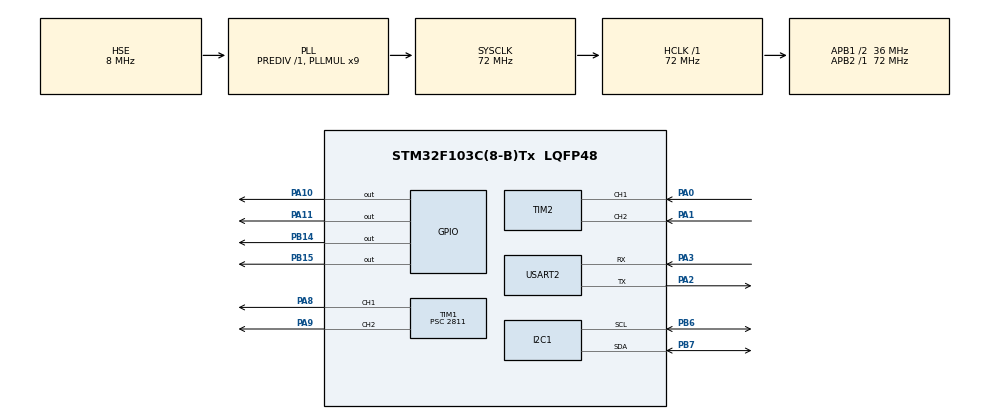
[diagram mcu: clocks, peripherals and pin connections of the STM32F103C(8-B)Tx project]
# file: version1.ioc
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Mcu.Family=STM32F1
Mcu.Name=STM32F103C(8-B)Tx
Mcu.Package=LQFP48
NVIC.PriorityGroup=NVIC_PRIORITYGROUP_4
NVIC.TIM1_UP_IRQn=true\:2\:0\:true\:false\:true\:true\:true\:true
PA0-WKUP.Signal=S_TIM2_CH1_ETR
PA1.Signal=S_TIM2_CH2
PA10.Signal=GPIO_Output
PA11.Signal=GPIO_Output
PA13.Mode=Serial_Wire
PA13.Signal=SYS_JTMS-SWDIO
PA14.Mode=Serial_Wire
PA14.Signal=SYS_JTCK-SWCLK
PA2.Mode=Asynchronous
PA2.Signal=USART2_TX
PA3.Mode=Asynchronous
PA3.Signal=USART2_RX
PA8.Signal=S_TIM1_CH1
PA9.Signal=S_TIM1_CH2
PB14.Signal=GPIO_Output
PB15.Signal=GPIO_Output
PB6.Mode=I2C
PB6.Signal=I2C1_SCL
PB7.Mode=I2C
PB7.Signal=I2C1_SDA
PD0-OSC_IN.Mode=HSE-External-Oscillator
PD0-OSC_IN.Signal=RCC_OSC_IN
PD1-OSC_OUT.Mode=HSE-External-Oscillator
PD1-OSC_OUT.Signal=RCC_OSC_OUT
ProjectManager.HeapSize=0x200
ProjectManager.StackSize=0x400
ProjectManager.TargetToolchain=MDK-ARM V5.32
RCC.AHBFreq_Value=72000000
RCC.APB1CLKDivider=RCC_HCLK_DIV2
RCC.APB1Freq_Value=36000000
RCC.APB1TimFreq_Value=72000000
RCC.APB2Freq_Value=72000000
RCC.APB2TimFreq_Value=72000000
RCC.HCLKFreq_Value=72000000
RCC.PLLMUL=RCC_PLL_MUL9
RCC.PLLSourceVirtual=RCC_PLLSOURCE_HSE
RCC.SYSCLKFreq_VALUE=72000000
RCC.SYSCLKSource=RCC_SYSCLKSOURCE_PLLCLK
RCC.USBFreq_Value=72000000
SH.S_TIM1_CH1.0=TIM1_CH1,PWM Generation1 CH1
SH.S_TIM1_CH2.0=TIM1_CH2,PWM Generation2 CH2
SH.S_TIM2_CH1_ETR.0=TIM2_CH1,Encoder_Interface
SH.S_TIM2_CH2.0=TIM2_CH2,Encoder_Interface
TIM1.Channel-PWM\ Generation1\ CH1=TIM_CHANNEL_1
TIM1.Channel-PWM\ Generation2\ CH2=TIM_CHANNEL_2
TIM1.Period=255
TIM1.Prescaler=2811
USART2.VirtualMode=VM_ASYNC
VP_TIM1_VS_ClockSourceINT.Mode=Internal
board=custom

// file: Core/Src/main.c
/* USER CODE BEGIN Header */
/**
  ******************************************************************************
  * @file           : main.c
  * @brief          : Main program body
  ******************************************************************************
  * @attention
  *
  * Copyright (c) 2025 STMicroelectronics.
  * All rights reserved.
  *
  * This software is licensed under terms that can be found in the LICENSE file
  * in the root directory of this software component.
  * If no LICENSE file comes with this software, it is provided AS-IS.
  *
  ******************************************************************************
  */
/* USER CODE END Header */
#include "main.h"

/* USER CODE BEGIN Includes */
#include "stdio.h"
#include "string.h"
#include "mpu6050_kalman_1.h"
#include "math.h"
/* USER CODE END Includes */

I2C_HandleTypeDef hi2c1;

TIM_HandleTypeDef htim1;
TIM_HandleTypeDef htim2;

UART_HandleTypeDef huart2;

void SystemClock_Config(void);
static void MX_GPIO_Init(void);
static void MX_I2C1_Init(void);
static void MX_TIM1_Init(void);
static void MX_USART2_UART_Init(void);
static void MX_TIM2_Init(void);

/* USER CODE BEGIN 0 */
#define u8 uint8_t
#define u16 uint16_t
MPU6050_t MPU6050;
float roll =0.0, filtered_roll = 0.0, previous_roll=0.0;
float dt=0.01;
float Error, pre_Error, pre_pre_Error, Out, pre_Out;
float Kp=10, Ki=0.5, Kd=1;
u8 max_PID = 255;

void HAL_TIM_PeriodElapsedCallback(TIM_HandleTypeDef *htim){
	if(htim->Instance == htim1.Instance){
		MPU6050_Read_All(&hi2c1, &MPU6050);
		roll = MPU6050.KalmanAngleX;
		filtered_roll = 0.5f * previous_roll + 0.5f * roll;
		previous_roll = filtered_roll;
	}
}

void control_motor(u8 motor, u8 dir){
	if(motor==1){
		if(dir==1){
			HAL_GPIO_WritePin(GPIOB, GPIO_PIN_14, 1);
			HAL_GPIO_WritePin(GPIOB, GPIO_PIN_15, 0);
		}
		else{
			HAL_GPIO_WritePin(GPIOB, GPIO_PIN_14, 0);
			HAL_GPIO_WritePin(GPIOB, GPIO_PIN_15, 1);
		}
	}
	else
	if(motor==2){
		if(dir==1){
			HAL_GPIO_WritePin(GPIOA, GPIO_PIN_10, 1);
			HAL_GPIO_WritePin(GPIOA, GPIO_PIN_11, 0);
		}
		else{
			HAL_GPIO_WritePin(GPIOA, GPIO_PIN_10, 0);
			HAL_GPIO_WritePin(GPIOA, GPIO_PIN_11, 1);
		}
	}
}

void PID_Control(u8 setpoint, float angle_current){
	Error = setpoint - angle_current;
	float P_part = Kp*(Error - pre_Error);
	float I_part = 0.5*Ki*dt*(Error + pre_Error);
	float D_part= Kd/dt*( Error - 2*pre_Error+ pre_pre_Error);
	Out = pre_Out + P_part + I_part + D_part ;
	// to do sth
	pre_pre_Error = pre_Error;
	pre_Error = Error;
	pre_Out = Out;
	if(Out>max_PID){
		Out = max_PID;
	}else
	if(Out < 5){
		Out = 0;
	}
}

/* USER CODE END 0 */

int main(void)
{

  /* MCU Configuration--------------------------------------------------------*/

  /* Reset of all peripherals, Initializes the Flash interface and the Systick. */
  HAL_Init();

  /* Configure the system clock */
  SystemClock_Config();

  /* Initialize all configured peripherals */
  MX_GPIO_Init();
  MX_I2C1_Init();
  MX_TIM1_Init();
  MX_USART2_UART_Init();
  MX_TIM2_Init();
  /* USER CODE BEGIN 2 */
	MPU6050_Init(&hi2c1);
	HAL_TIM_Base_Start_IT(&htim1);
	HAL_TIM_PWM_Start(&htim1, TIM_CHANNEL_1);
	HAL_TIM_PWM_Start(&htim1, TIM_CHANNEL_2);
	__HAL_TIM_SET_COMPARE(&htim1, TIM_CHANNEL_1, 125);
	__HAL_TIM_SET_COMPARE(&htim1, TIM_CHANNEL_2, 125);
  /* USER CODE END 2 */

  /* Infinite loop */
  while (1)
  {

    /* USER CODE BEGIN 3 */
//		control_motor(1,1);// thuan
		control_motor(2,1);
		HAL_Delay(300);
  }
  /* USER CODE END 3 */
}

void SystemClock_Config(void)
{
  RCC_OscInitTypeDef RCC_OscInitStruct = {0};
  RCC_ClkInitTypeDef RCC_ClkInitStruct = {0};

  /** Initializes the RCC Oscillators according to the specified parameters
  * in the RCC_OscInitTypeDef structure.
  */
  RCC_OscInitStruct.OscillatorType = RCC_OSCILLATORTYPE_HSE;
  RCC_OscInitStruct.HSEState = RCC_HSE_ON;
  RCC_OscInitStruct.HSEPredivValue = RCC_HSE_PREDIV_DIV1;
  RCC_OscInitStruct.HSIState = RCC_HSI_ON;
  RCC_OscInitStruct.PLL.PLLState = RCC_PLL_ON;
  RCC_OscInitStruct.PLL.PLLSource = RCC_PLLSOURCE_HSE;
  RCC_OscInitStruct.PLL.PLLMUL = RCC_PLL_MUL9;
  if (HAL_RCC_OscConfig(&RCC_OscInitStruct) != HAL_OK)
  {
    Error_Handler();
  }

  /** Initializes the CPU, AHB and APB buses clocks
  */
  RCC_ClkInitStruct.ClockType = RCC_CLOCKTYPE_HCLK|RCC_CLOCKTYPE_SYSCLK
                              |RCC_CLOCKTYPE_PCLK1|RCC_CLOCKTYPE_PCLK2;
  RCC_ClkInitStruct.SYSCLKSource = RCC_SYSCLKSOURCE_PLLCLK;
  RCC_ClkInitStruct.AHBCLKDivider = RCC_SYSCLK_DIV1;
  RCC_ClkInitStruct.APB1CLKDivider = RCC_HCLK_DIV2;
  RCC_ClkInitStruct.APB2CLKDivider = RCC_HCLK_DIV1;

  if (HAL_RCC_ClockConfig(&RCC_ClkInitStruct, FLASH_LATENCY_2) != HAL_OK)
  {
    Error_Handler();
  }
}

static void MX_I2C1_Init(void)
{

  hi2c1.Instance = I2C1;
  hi2c1.Init.ClockSpeed = 100000;
  hi2c1.Init.DutyCycle = I2C_DUTYCYCLE_2;
  hi2c1.Init.OwnAddress1 = 0;
  hi2c1.Init.AddressingMode = I2C_ADDRESSINGMODE_7BIT;
  hi2c1.Init.DualAddressMode = I2C_DUALADDRESS_DISABLE;
  hi2c1.Init.OwnAddress2 = 0;
  hi2c1.Init.GeneralCallMode = I2C_GENERALCALL_DISABLE;
  hi2c1.Init.NoStretchMode = I2C_NOSTRETCH_DISABLE;
  if (HAL_I2C_Init(&hi2c1) != HAL_OK)
  {
    Error_Handler();
  }

}

static void MX_TIM1_Init(void)
{

  TIM_ClockConfigTypeDef sClockSourceConfig = {0};
  TIM_MasterConfigTypeDef sMasterConfig = {0};
  TIM_OC_InitTypeDef sConfigOC = {0};
  TIM_BreakDeadTimeConfigTypeDef sBreakDeadTimeConfig = {0};

  htim1.Instance = TIM1;
  htim1.Init.Prescaler = 2811;
  htim1.Init.CounterMode = TIM_COUNTERMODE_UP;
  htim1.Init.Period = 255;
  htim1.Init.ClockDivision = TIM_CLOCKDIVISION_DIV1;
  htim1.Init.RepetitionCounter = 0;
  htim1.Init.AutoReloadPreload = TIM_AUTORELOAD_PRELOAD_DISABLE;
  if (HAL_TIM_Base_Init(&htim1) != HAL_OK)
  {
    Error_Handler();
  }
  sClockSourceConfig.ClockSource = TIM_CLOCKSOURCE_INTERNAL;
  if (HAL_TIM_ConfigClockSource(&htim1, &sClockSourceConfig) != HAL_OK)
  {
    Error_Handler();
  }
  if (HAL_TIM_PWM_Init(&htim1) != HAL_OK)
  {
    Error_Handler();
  }
  sMasterConfig.MasterOutputTrigger = TIM_TRGO_RESET;
  sMasterConfig.MasterSlaveMode = TIM_MASTERSLAVEMODE_DISABLE;
  if (HAL_TIMEx_MasterConfigSynchronization(&htim1, &sMasterConfig) != HAL_OK)
  {
    Error_Handler();
  }
  sConfigOC.OCMode = TIM_OCMODE_PWM1;
  sConfigOC.Pulse = 0;
  sConfigOC.OCPolarity = TIM_OCPOLARITY_HIGH;
  sConfigOC.OCNPolarity = TIM_OCNPOLARITY_HIGH;
  sConfigOC.OCFastMode = TIM_OCFAST_DISABLE;
  sConfigOC.OCIdleState = TIM_OCIDLESTATE_RESET;
  sConfigOC.OCNIdleState = TIM_OCNIDLESTATE_RESET;
  if (HAL_TIM_PWM_ConfigChannel(&htim1, &sConfigOC, TIM_CHANNEL_1) != HAL_OK)
  {
    Error_Handler();
  }
  if (HAL_TIM_PWM_ConfigChannel(&htim1, &sConfigOC, TIM_CHANNEL_2) != HAL_OK)
  {
    Error_Handler();
  }
  sBreakDeadTimeConfig.OffStateRunMode = TIM_OSSR_DISABLE;
  sBreakDeadTimeConfig.OffStateIDLEMode = TIM_OSSI_DISABLE;
  sBreakDeadTimeConfig.LockLevel = TIM_LOCKLEVEL_OFF;
  sBreakDeadTimeConfig.DeadTime = 0;
  sBreakDeadTimeConfig.BreakState = TIM_BREAK_DISABLE;
  sBreakDeadTimeConfig.BreakPolarity = TIM_BREAKPOLARITY_HIGH;
  sBreakDeadTimeConfig.AutomaticOutput = TIM_AUTOMATICOUTPUT_DISABLE;
  if (HAL_TIMEx_ConfigBreakDeadTime(&htim1, &sBreakDeadTimeConfig) != HAL_OK)
  {
    Error_Handler();
  }
  HAL_TIM_MspPostInit(&htim1);

}

static void MX_TIM2_Init(void)
{

  TIM_Encoder_InitTypeDef sConfig = {0};
  TIM_MasterConfigTypeDef sMasterConfig = {0};

  htim2.Instance = TIM2;
  htim2.Init.Prescaler = 0;
  htim2.Init.CounterMode = TIM_COUNTERMODE_UP;
  htim2.Init.Period = 65535;
  htim2.Init.ClockDivision = TIM_CLOCKDIVISION_DIV1;
  htim2.Init.AutoReloadPreload = TIM_AUTORELOAD_PRELOAD_DISABLE;
  sConfig.EncoderMode = TIM_ENCODERMODE_TI1;
  sConfig.IC1Polarity = TIM_ICPOLARITY_RISING;
  sConfig.IC1Selection = TIM_ICSELECTION_DIRECTTI;
  sConfig.IC1Prescaler = TIM_ICPSC_DIV1;
  sConfig.IC1Filter = 0;
  sConfig.IC2Polarity = TIM_ICPOLARITY_RISING;
  sConfig.IC2Selection = TIM_ICSELECTION_DIRECTTI;
  sConfig.IC2Prescaler = TIM_ICPSC_DIV1;
  sConfig.IC2Filter = 0;
  if (HAL_TIM_Encoder_Init(&htim2, &sConfig) != HAL_OK)
  {
    Error_Handler();
  }
  sMasterConfig.MasterOutputTrigger = TIM_TRGO_RESET;
  sMasterConfig.MasterSlaveMode = TIM_MASTERSLAVEMODE_DISABLE;
  if (HAL_TIMEx_MasterConfigSynchronization(&htim2, &sMasterConfig) != HAL_OK)
  {
    Error_Handler();
  }

}

static void MX_USART2_UART_Init(void)
{

  huart2.Instance = USART2;
  huart2.Init.BaudRate = 115200;
  huart2.Init.WordLength = UART_WORDLENGTH_8B;
  huart2.Init.StopBits = UART_STOPBITS_1;
  huart2.Init.Parity = UART_PARITY_NONE;
  huart2.Init.Mode = UART_MODE_TX_RX;
  huart2.Init.HwFlowCtl = UART_HWCONTROL_NONE;
  huart2.Init.OverSampling = UART_OVERSAMPLING_16;
  if (HAL_UART_Init(&huart2) != HAL_OK)
  {
    Error_Handler();
  }

}

static void MX_GPIO_Init(void)
{
  GPIO_InitTypeDef GPIO_InitStruct = {0};

  /* GPIO Ports Clock Enable */
  __HAL_RCC_GPIOD_CLK_ENABLE();
  __HAL_RCC_GPIOA_CLK_ENABLE();
  __HAL_RCC_GPIOB_CLK_ENABLE();

  /*Configure GPIO pin Output Level */
  HAL_GPIO_WritePin(GPIOB, GPIO_PIN_14|GPIO_PIN_15, GPIO_PIN_RESET);

  /*Configure GPIO pin Output Level */
  HAL_GPIO_WritePin(GPIOA, GPIO_PIN_10|GPIO_PIN_11, GPIO_PIN_RESET);

  /*Configure GPIO pins : PB14 PB15 */
  GPIO_InitStruct.Pin = GPIO_PIN_14|GPIO_PIN_15;
  GPIO_InitStruct.Mode = GPIO_MODE_OUTPUT_PP;
  GPIO_InitStruct.Pull = GPIO_NOPULL;
  GPIO_InitStruct.Speed = GPIO_SPEED_FREQ_LOW;
  HAL_GPIO_Init(GPIOB, &GPIO_InitStruct);

  /*Configure GPIO pins : PA10 PA11 */
  GPIO_InitStruct.Pin = GPIO_PIN_10|GPIO_PIN_11;
  GPIO_InitStruct.Mode = GPIO_MODE_OUTPUT_PP;
  GPIO_InitStruct.Pull = GPIO_NOPULL;
  GPIO_InitStruct.Speed = GPIO_SPEED_FREQ_LOW;
  HAL_GPIO_Init(GPIOA, &GPIO_InitStruct);

}

void Error_Handler(void)
{
  __disable_irq();
  while (1)
  {
  }
}
